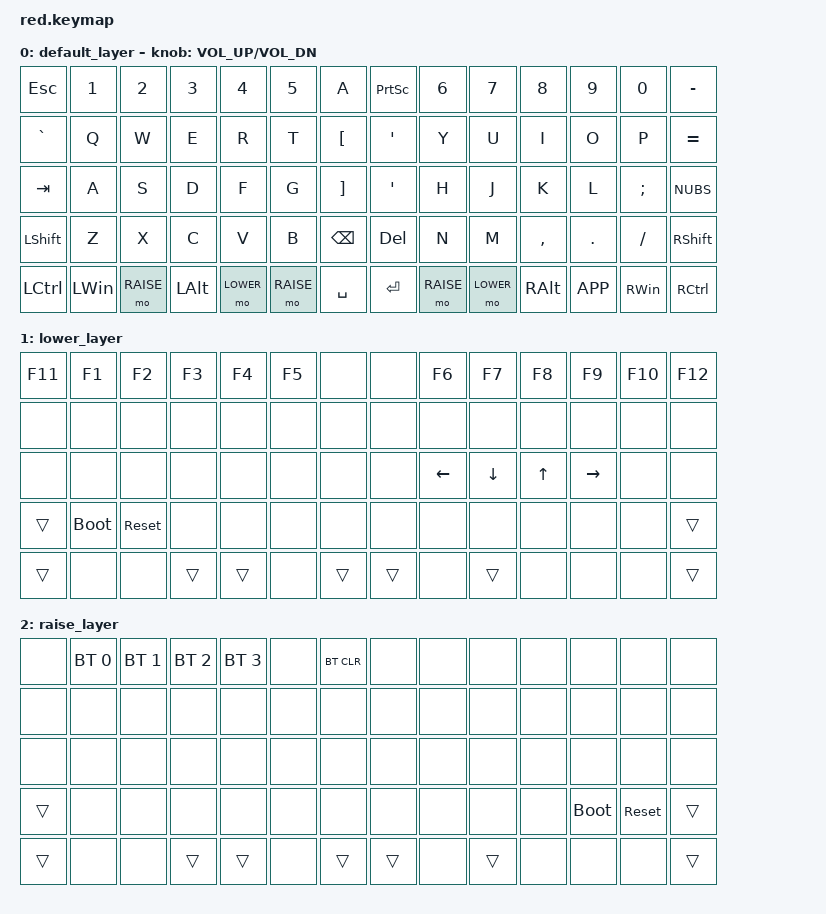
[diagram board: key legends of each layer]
/*
 * Copyright (c) 2020 The ZMK Contributors
 *
 * SPDX-License-Identifier: MIT
 */

#include <behaviors.dtsi>
#include <dt-bindings/zmk/keys.h>
#include <dt-bindings/zmk/bt.h>

#define DEFAULT 0
#define LOWER   1
#define RAISE   2


/ {
        keymap {
                compatible = "zmk,keymap";
                
                default_layer {
                        sensor-bindings = <&inc_dec_kp C_VOL_UP C_VOL_DN>;
                        /* QWERTY
 * .----------------------------------------------------------------------------------------------------------------------.
 * |  `   |   1  |   2  |   3  |   4  |   5  |  [   |                    |  ]   |   6  |   7  |   8  |   9  |   0  | PScr |
 * |------+------+------+------+------+------+------+--------------------+------+------+------+------+------+------+------|
 * | ESC  |   Q  |   W  |   E  |   R  |   T  |  -   |                    |  =   |   Y  |   U  |   I  |   O  |   P  |  \   |
 * |------+------+------+------+------+------+------+--------------------+------+------+------+------+------+------+------|
 * | Tab  |   A  |   S  |   D  |   F  |   G  | Del  |                    | Bksp |   H  |   J  |   K  |   L  |   ;  |  '   |
 * |------+------+------+------+------+------+---------------------------+------+------+------+------+------+------+------|
 * | Shift|   Z  |   X  |   C  |   V  |   B  | End  |                    | Home |   N  |   M  |   ,  |   .  |   /  | Shift|
 * |-------------+------+------+------+------+------+------+------+------+------+------+------+------+------+-------------|
 * | Ctrl |      | PGDN | Win  |||||||| Alt  | Space| Lower|||||||| Raise| Enter| RAlt ||||||||      | PGUP | Ins  | RCtrl|
 * .----------------------------------------------------------------------------------------------------------------------.
 */
                        bindings = <
&kp  ESC      &kp  N1       &kp  N2       &kp  N3       &kp  N4       &kp  N5       &kp  A              &kp  PSCRN    &kp  N6       &kp  N7       &kp  N8       &kp  N9       &kp  N0       &kp  MINUS
&kp  GRAVE    &kp  Q        &kp  W        &kp  E        &kp  R        &kp  T        &kp  LBKT           &kp  SQT      &kp  Y        &kp  U        &kp  I        &kp  O        &kp  P        &kp  EQUAL
&kp  TAB      &kp  A        &kp  S        &kp  D        &kp  F        &kp  G        &kp  RBKT           &kp  SQT      &kp  H        &kp  J        &kp  K        &kp  L        &kp  SEMI     &kp  NUBS
&kp  LSHFT    &kp  Z        &kp  X        &kp  C        &kp  V        &kp  B        &kp  BSPC           &kp  DEL      &kp  N        &kp  M        &kp  COMMA    &kp  DOT      &kp  SLASH    &kp  RSHFT
&kp  LCTRL    &kp  LWIN     &mo  RAISE    &kp  LALT     &mo  LOWER    &mo  RAISE    &kp  SPACE          &kp  RET      &mo  RAISE    &mo  LOWER    &kp  RALT     &kp  K_APP    &kp  RWIN     &kp  RCTRL
                        >;
                };
                lower_layer {
/* .----------------------------------------------------------------------------------------------------------------------.
 * |  F11 |  F1  |  F2  |  F3  |  F4  |  F5  |      |                    |      |  F6  |  F7  |  F8  |  F9  |  F10 |  F12 |
 * |------+------+------+------+------+------+------+--------------------+------+------+------+------+------+------+------|
 * |      |      |      |      |      |      |      |                    |      |      |      |      |      |      |      |
 * |------+------+------+------+------+------+------+--------------------+------+------+------+------+------+------+------|
 * |      |      |      |      |      |      |      |                    |      |      |      |      |      |      |      |
 * |------+------+------+------+------+------+---------------------------+------+------+------+------+------+------+------|
 * | Shift| Boot | Reset|      |      |      |      |                    |      |      |      |      |      |      | Shift|
 * |-------------+------+------+------+------+------+------+------+------+------+------+------+------+------+-------------|
 * | Ctlr |      |      |  Win |||||||| Alt  |      | Lower|||||||| Raise|      | RAlt ||||||||      |      |      | RCtrl|
 * .----------------------------------------------------------------------------------------------------------------------.
 */ /* FIXME boot and reset are not yet locale aware */
                        bindings = <
&kp  F11      &kp  F1       &kp  F2       &kp  F3       &kp  F4       &kp  F5       &none                  &none         &kp  F6       &kp  F7       &kp  F8       &kp  F9       &kp  F10      &kp  F12
&none         &none         &none         &none         &none         &none         &none                  &none         &none         &none         &none         &none         &none         &none
&none         &none         &none         &none         &none         &none         &none                  &none         &kp LEFT      &kp DOWN      &kp UP        &kp RIGHT     &none         &none
&trans        &bootloader   &sys_reset    &none         &none         &none         &none                  &none         &none         &none         &none         &none         &none         &trans
&trans        &none         &none         &trans        &trans        &none         &trans                 &trans        &none         &trans        &none         &none         &none         &trans
                        >;
                };
                raise_layer {
/* .----------------------------------------------------------------------------------------------------------------------.
 * |      | BT 0 | BT 1 | BT 2 | BT 3 |      | BTCL |                    |      |      |      |      |      |      |      |
 * |------+------+------+------+------+------+------+--------------------+------+------+------+------+------+------+------|
 * |      |      |      |      |      |      |      |                    |      |      |      |      |      |      |      |
 * |------+------+------+------+------+------+------+--------------------+------+------+------+------+------+------+------|
 * |      |      |      |      |      |      |      |                    |      |      |      |      |      |      |      |
 * |------+------+------+------+------+------+---------------------------+------+------+------+------+------+------+------|
 * | Shift|      |      |      |      |      |      |                    |      |      |      |      | Boot | Reset| Shift|
 * |-------------+------+------+------+------+------+------+------+------+------+------+------+------+------+-------------|
 * | Ctlr |      |      |  Win |||||||| Alt  |      | Lower|||||||| Raise|      | RAlt ||||||||      |      |      | RCtrl|
 * .----------------------------------------------------------------------------------------------------------------------.
 */ /* FIXME boot and reset are not yet locale aware */
                        bindings = <
&none         &bt BT_SEL 0  &bt BT_SEL 1  &bt BT_SEL 2  &bt BT_SEL 3  &none         &bt BT_CLR             &none         &none         &none         &none         &none         &none         &none
&none         &none         &none         &none         &none         &none         &none                  &none         &none         &none         &none         &none         &none         &none
&none         &none         &none         &none         &none         &none         &none                  &none         &none         &none         &none         &none         &none         &none
&trans        &none         &none         &none         &none         &none         &none                  &none         &none         &none         &none         &bootloader   &sys_reset    &trans
&trans        &none         &none         &trans        &trans        &none         &trans                 &trans        &none         &trans        &none         &none         &none         &trans
                        >;
                };
        };
};
